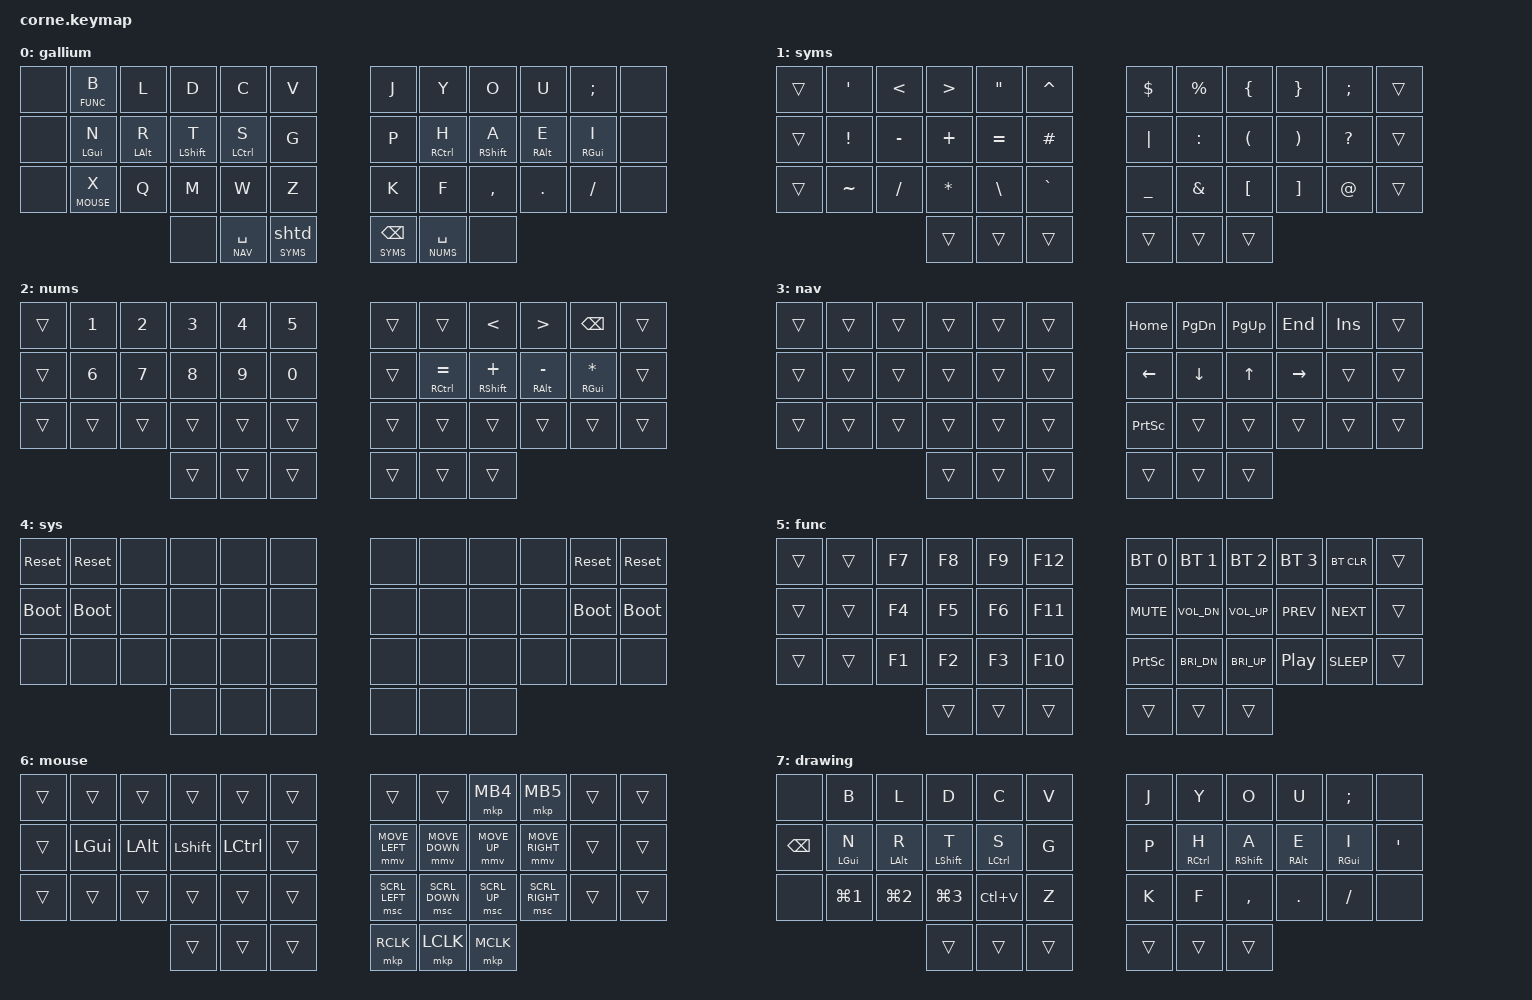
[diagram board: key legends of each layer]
#include <behaviors.dtsi>
#include <dt-bindings/zmk/keys.h>
#include <dt-bindings/zmk/bt.h>
#include <dt-bindings/zmk/ext_power.h>

#define ZMK_POINTING_DEFAULT_MOVE_VAL 1500
#define ZMK_POINTING_DEFAULT_SCRL_VAL 25
#include <dt-bindings/zmk/pointing.h>

#define GALLIUM 0
#define SYMS 1
#define NUMS 2
#define NAV 3
#define SYS 4
#define FUNC 5
#define MOUSE 6
#define DRAWING 7

&mmv {
    time-to-max-speed-ms = <350>;
    acceleration-exponent = <1>;
};

&msc {
    time-to-max-speed-ms = <100>;
    acceleration-exponent = <0>;
};

/ {
    behaviors {
        hl: home_row_mod_left {
            compatible = "zmk,behavior-hold-tap";
            #binding-cells = <2>;
            flavor = "balanced";
            tapping-term-ms = <175>;
            quick-tap-ms = <175>;
            require-prior-idle-ms = <120>;
            bindings = <&kp>, <&kp>;
            hold-trigger-key-positions = <6 7 8 9 10 11 18 19 20 21 22 23 30 31 32 33 34 35 36 37 38 39 40 41>;
            hold-trigger-on-release;
        };

        hr: home_row_mod_right {
            compatible = "zmk,behavior-hold-tap";
            #binding-cells = <2>;
            flavor = "balanced";
            tapping-term-ms = <175>;
            quick-tap-ms = <175>;
            require-prior-idle-ms = <120>;
            bindings = <&kp>, <&kp>;
            hold-trigger-key-positions = <0 1 2 3 4 5 12 13 14 15 16 17 24 25 26 27 28 29 36 37 38 39 40 41>;
            hold-trigger-on-release;
        };

        lm: layer_mod {
            compatible = "zmk,behavior-hold-tap";
            #binding-cells = <2>;
            tapping-term-ms = <175>;
            quick-tap-ms = <175>;
            flavor = "balanced";
            bindings = <&mo>, <&kp>;
        };

        cw: ultimate_caps {
            compatible = "zmk,behavior-tap-dance";
            #binding-cells = <0>;
            tapping-term-ms = <300>;
            bindings = <&caps_word>, <&kp CAPS>;
        };

        cwl: ultimate_caps_layer {
            compatible = "zmk,behavior-hold-tap";
            #binding-cells = <2>;
            tapping-term-ms = <150>;
            flavor = "balanced";
            bindings = <&mo>, <&cw>;
        };

        sml: sticky_momentary_layer {
            compatible = "zmk,behavior-hold-tap";
            #binding-cells = <2>;
            tapping-term-ms = <175>;
            flavor = "balanced";
            bindings = <&mo>, <&sl>;
        };

        shtd: shift_tap_dance {
            compatible = "zmk,behavior-tap-dance";
            #binding-cells = <0>;
            tapping-term-ms = <300>;
            bindings = <&sk LSHIFT>, <&caps_word>;
        };

        shtdl: shift_tap_dance_layer {
            compatible = "zmk,behavior-hold-tap";
            #binding-cells = <2>;
            flavor = "balanced";
            tapping-term-ms = <150>;
            bindings = <&mo>, <&shtd>;
        };
    };

    combos {
        compatible = "zmk,combos";

        combo_sys0 {
            timeout-ms = <50>;
            key-positions = <37 38>;
            bindings = <&mo SYS>;
        };

        combo_sys1 {
            timeout-ms = <50>;
            key-positions = <39 40>;
            bindings = <&mo SYS>;
        };

        combo_bootloader {
            timeout-ms = <50>;
            key-positions = <37 38 39>;
            bindings = <&bootloader>;
        };

        combo_esc {
            timeout-ms = <50>;
            key-positions = <2 3>;
            bindings = <&kp ESC>;
        };

        combo_ret {
            timeout-ms = <50>;
            key-positions = <8 9>;
            bindings = <&kp RET>;
        };

        combo_tab {
            timeout-ms = <50>;
            key-positions = <3 4>;
            bindings = <&kp TAB>;
        };

        combo_delete {
            timeout-ms = <50>;
            key-positions = <7 8>;
            bindings = <&kp DEL>;
        };

    };

    keymap {
        compatible = "zmk,keymap";

        gallium {
            display-name = "gallium";
            bindings = <
&none &lm FUNC B  &kp L       &kp D        &kp C        &kp V    &kp J &kp Y        &kp O        &kp U       &kp SEMI     &none
&none &hl LGUI N  &hl LALT R  &hl LSHFT T  &hl LCTRL S  &kp G    &kp P &hr RCTRL H  &hr RSHFT A  &hr RALT E  &hr RGUI I   &none
&none &lm MOUSE X &kp Q       &kp M        &kp W        &kp Z    &kp K &kp F        &kp COMMA    &kp DOT     &kp FSLH     &none
                       &none &lm NAV SPACE &shtdl SYMS 0                 &lm SYMS BSPC &lm NUMS SPACE &none
            >;
        };

        syms {
            display-name = "syms";
            bindings = <
&trans &kp SQT   &kp LT    &kp GT    &kp DQT   &kp CARET    &kp DLLR  &kp PRCNT &kp LBRC &kp RBRC &kp SEMI  &trans
&trans &kp EXCL  &kp MINUS &kp PLUS  &kp EQUAL &kp HASH     &kp PIPE  &kp COLON &kp LPAR &kp RPAR &kp QMARK &trans
&trans &kp TILDE &kp FSLH  &kp ASTRK &kp BSLH  &kp GRAVE    &kp UNDER &kp AMPS  &kp LBKT &kp RBKT &kp AT    &trans
                           &trans &trans &trans                          &trans &trans &trans
            >;
        };

        nums {
            display-name = "nums";
            bindings = <
&trans &kp N1 &kp N2 &kp N3 &kp N4 &kp N5    &trans &trans          &kp LT          &kp GT          &kp BSPC        &trans
&trans &kp N6 &kp N7 &kp N8 &kp N9 &kp N0    &trans &hr RCTRL EQUAL &hr RSHFT PLUS  &hr RALT MINUS  &hr RGUI ASTRK &trans
&trans &trans &trans &trans &trans &trans    &trans &trans          &trans          &trans          &trans          &trans
                     &trans &trans &trans                       &trans &trans &trans
            >;
        };

        nav {
            display-name = "nav";
            bindings = <
&trans &trans &trans &trans &trans &trans    &kp HOME  &kp PG_DN &kp PG_UP &kp END   &kp INS &trans
&trans &trans &trans &trans &trans &trans    &kp LEFT  &kp DOWN  &kp UP    &kp RIGHT &trans  &trans
&trans &trans &trans &trans &trans &trans    &kp PSCRN &trans    &trans    &trans    &trans  &trans
                     &trans &trans &trans     &trans &trans &trans
            >;
        };

        sys {
            display-name = "sys";
            bindings = <
&sys_reset  &sys_reset  &none &none &none &none    &none &none &none &none &sys_reset  &sys_reset
&bootloader &bootloader &none &none &none &none    &none &none &none &none &bootloader &bootloader
&none       &none       &none &none &none &none    &none &none &none &none &none       &none
                              &none &none &none      &none &none &none
            >;
        };

        function {
            display-name = "func";
            bindings = <
&trans &trans &kp F7 &kp F8 &kp F9 &kp F12    &bt BT_SEL 0 &bt BT_SEL 1 &bt BT_SEL 2 &bt BT_SEL 3 &bt BT_CLR  &trans
&trans &trans &kp F4 &kp F5 &kp F6 &kp F11    &kp C_MUTE   &kp C_VOL_DN &kp C_VOL_UP &kp C_PREV   &kp C_NEXT  &trans
&trans &trans &kp F1 &kp F2 &kp F3 &kp F10    &kp PSCRN    &kp C_BRI_DN &kp C_BRI_UP &kp C_PP     &kp C_SLEEP &trans
                     &trans &trans &trans        &trans &trans &trans
            >;
        };

        mouse {
            display-name = "mouse";
            bindings = <
&trans &trans   &trans    &trans     &trans     &trans    &trans         &trans         &mkp MB4     &mkp MB5        &trans &trans
&trans &kp LGUI &kp LALT  &kp LSHFT  &kp LCTRL  &trans    &mmv MOVE_LEFT &mmv MOVE_DOWN &mmv MOVE_UP &mmv MOVE_RIGHT &trans &trans
&trans &trans   &trans    &trans     &trans     &trans    &msc SCRL_LEFT &msc SCRL_DOWN &msc SCRL_UP &msc SCRL_RIGHT &trans &trans
                        &trans &trans &trans                           &mkp RCLK &mkp LCLK &mkp MCLK
            >;
        };

        drawing {
            display-name = "drawing";
            bindings = <
&none    &kp B      &kp L      &kp D       &kp C       &kp V    &kp J &kp Y        &kp O       &kp U      &kp SEMI   &none
&kp BSPC &hl LGUI N &hl LALT R &hl LSHFT T &hl LCTRL S &kp G    &kp P &hr RCTRL H  &hr RSHFT A &hr RALT E &hr RGUI I &kp SQT
&none    &kp LG(N1) &kp LG(N2) &kp LG(N3)  &kp LC(V)   &kp Z    &kp K &kp F        &kp COMMA   &kp DOT    &kp FSLH   &none
                     &trans &trans &trans        &trans &trans &trans
            >;
        };
    };
};
